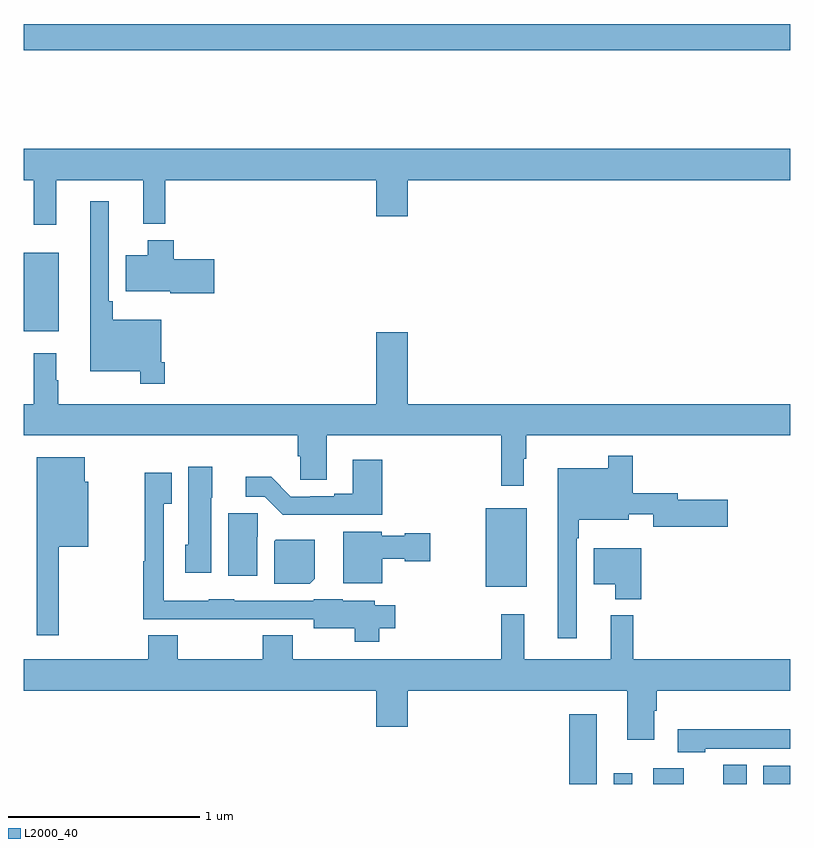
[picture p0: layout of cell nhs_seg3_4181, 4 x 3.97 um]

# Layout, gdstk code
import gdstk
lib = gdstk.Library(unit=1e-6, precision=1e-09)
def R(c, l, rs):  # rectangles x0, y0, x1, y1
    for r in rs: c.add(gdstk.rectangle(r[:2], r[2:], *l))
def P(c, l, *ps):  # polygons
    for p in ps: c.add(gdstk.Polygon(p, *l))
L2000_40 = (2000, 40)

nhs_seg3_4181 = lib.new_cell('nhs_seg3_4181')
R(nhs_seg3_4181, L2000_40, [(333.848,728.4,333.991,728.764), (334.08,728.4,334.176,728.455), (334.286,728.4,334.444,728.482), (334.652,728.4,334.774,728.5), (334.86,728.4,335,728.496), (333.41,729.431,333.625,729.841), (331,730.763,331.183,731.173), (331,732.232,335,732.368)])
P(nhs_seg3_4181, L2000_40, [(331,731.552),(331.051,731.552),(331.051,731.319),(331.169,731.319),(331.169,731.552),(331.622,731.552),(331.622,731.324),(331.739,731.324),(331.739,731.552),(332.84,731.552),(332.84,731.364),(333.004,731.364),(333.004,731.552),(335,731.552),(335,731.716),(331,731.716)],
  [(331.736,730.603),(331.716,730.603),(331.716,730.825),(331.463,730.825),(331.463,730.921),(331.443,730.921),(331.443,731.443),(331.346,731.443),(331.346,730.556),(331.608,730.556),(331.608,730.491),(331.736,730.491)],
  [(331.993,731.139),(331.781,731.139),(331.781,731.239),(331.646,731.239),(331.646,731.161),(331.532,731.161),(331.532,730.973),(331.764,730.973),(331.764,730.961),(331.993,730.961)],
  [(333.61,730.097),(333.622,730.097),(333.622,730.22),(335,730.22),(335,730.384),(333.004,730.384),(333.004,730.759),(332.84,730.759),(332.84,730.384),(331.18,730.384),(331.18,730.508),(331.168,730.508),(331.168,730.648),(331.051,730.648),(331.051,730.384),(331,730.384),(331,730.22),(332.429,730.22),(332.429,730.11),(332.442,730.11),(332.442,729.988),(332.581,729.988),(332.581,730.22),(333.493,730.22),(333.493,729.957),(333.61,729.957)],
  [(333.885,729.683),(333.898,729.683),(333.898,729.779),(334.159,729.779),(334.159,729.809),(334.286,729.809),(334.286,729.743),(334.675,729.743),(334.675,729.885),(334.414,729.885),(334.414,729.919),(334.178,729.919),(334.178,730.114),(334.05,730.114),(334.05,730.048),(333.788,730.048),(333.788,729.162),(333.885,729.162)],
  [(331.181,729.638),(331.336,729.638),(331.336,729.978),(331.318,729.978),(331.318,730.105),(331.067,730.105),(331.067,729.177),(331.181,729.177)],
  [(332.87,730.093),(332.717,730.093),(332.717,729.916),(332.621,729.916),(332.621,729.903),(332.494,729.903),(332.494,729.9),(332.394,729.9),(332.292,730.003),(332.157,730.003),(332.157,729.9),(332.256,729.9),(332.351,729.806),(332.87,729.806)],
  [(331.978,729.894),(331.984,729.894),(331.984,730.057),(331.859,730.057),(331.859,729.648),(331.841,729.648),(331.841,729.504),(331.978,729.504)],
  [(332.855,729.212),(332.938,729.212),(332.938,729.334),(332.832,729.334),(332.832,729.358),(332.664,729.358),(332.664,729.364),(332.514,729.364),(332.514,729.357),(332.097,729.357),(332.097,729.364),(331.965,729.364),(331.965,729.358),(331.731,729.358),(331.731,729.863),(331.771,729.863),(331.771,730.024),(331.63,730.024),(331.63,729.564),(331.623,729.564),(331.623,729.261),(331.865,729.261),(331.865,729.26),(332.097,729.26),(332.097,729.261),(332.514,729.261),(332.514,729.212),(332.727,729.212),(332.727,729.143),(332.855,729.143)],
  [(332.218,729.69),(332.222,729.69),(332.222,729.813),(332.066,729.813),(332.066,729.486),(332.218,729.486)],
  [(332.872,729.575),(332.988,729.575),(332.988,729.563),(333.121,729.563),(333.121,729.71),(332.988,729.71),(332.988,729.697),(332.868,729.697),(332.868,729.718),(332.666,729.718),(332.666,729.449),(332.872,729.449)],
  [(332.518,729.472),(332.518,729.676),(332.314,729.676),(332.306,729.668),(332.306,729.446),(332.492,729.446)],
  [(334.223,729.631),(333.974,729.631),(333.974,729.443),(334.088,729.443),(334.088,729.365),(334.223,729.365)],
  [(334.291,728.782),(334.304,728.782),(334.304,728.888),(335,728.888),(335,729.052),(334.181,729.052),(334.181,729.28),(334.064,729.28),(334.064,729.052),(333.611,729.052),(333.611,729.286),(333.493,729.286),(333.493,729.052),(332.403,729.052),(332.403,729.176),(332.248,729.176),(332.248,729.052),(331.803,729.052),(331.803,729.176),(331.648,729.176),(331.648,729.052),(331,729.052),(331,728.888),(332.84,728.888),(332.84,728.7),(333.004,728.7),(333.004,728.888),(334.151,728.888),(334.151,728.631),(334.291,728.631)],
  [(334.557,728.585),(335,728.585),(335,728.686),(334.413,728.686),(334.413,728.567),(334.557,728.567)])

lib.write_gds('nhs_seg3_4181.gds')
